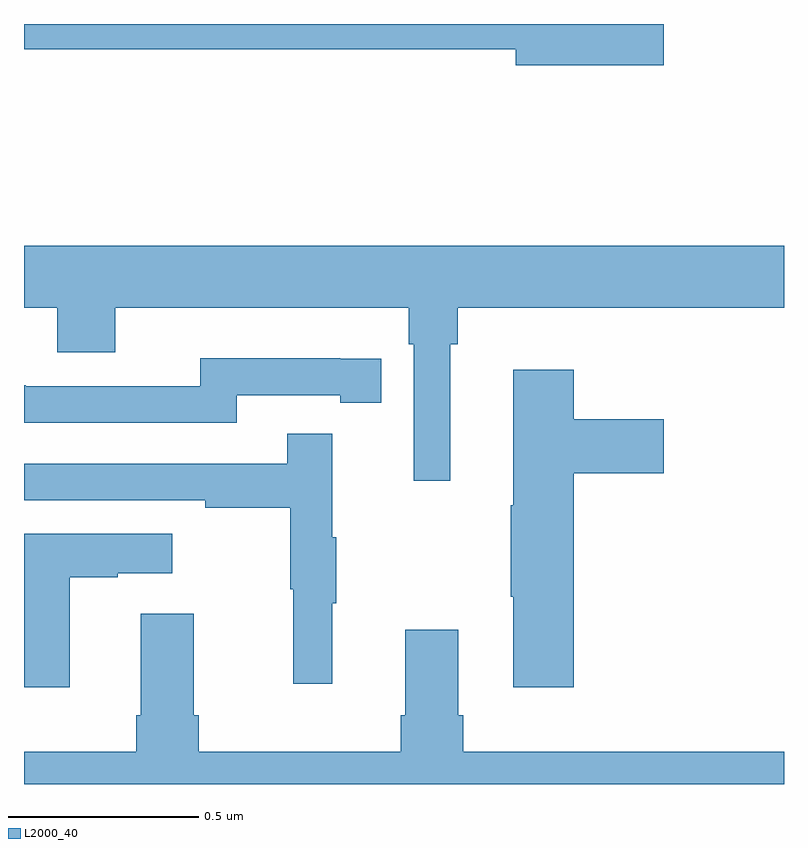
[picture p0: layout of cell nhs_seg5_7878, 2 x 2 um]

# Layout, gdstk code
import gdstk
lib = gdstk.Library(unit=1e-6, precision=1e-09)
def P(c, l, *ps):  # polygons
    for p in ps: c.add(gdstk.Polygon(p, *l))
L2000_40 = (2000, 40)

nhs_seg5_7878 = lib.new_cell('nhs_seg5_7878')
P(nhs_seg5_7878, L2000_40, [(215.683,898.799),(214,898.799),(214,898.732),(215.294,898.732),(215.294,898.69),(215.683,898.69)],
  [(215.122,897.956),(215.141,897.956),(215.141,898.052),(216,898.052),(216,898.216),(214,898.216),(214,898.052),(214.088,898.052),(214.088,897.935),(214.24,897.935),(214.24,898.052),(215.012,898.052),(215.012,897.956),(215.025,897.956),(215.025,897.597),(215.122,897.597)],
  [(214.56,897.822),(214.832,897.822),(214.832,897.802),(214.94,897.802),(214.94,897.918),(214.832,897.918),(214.832,897.919),(214.464,897.919),(214.464,897.846),(214.004,897.846),(214.004,897.848),(214,897.848),(214,897.75),(214.56,897.75)],
  [(215.447,897.617),(215.683,897.617),(215.683,897.759),(215.447,897.759),(215.447,897.889),(215.288,897.889),(215.288,897.533),(215.281,897.533),(215.281,897.292),(215.288,897.292),(215.288,897.054),(215.447,897.054)],
  [(214.811,897.275),(214.822,897.275),(214.822,897.449),(214.811,897.449),(214.811,897.721),(214.693,897.721),(214.693,897.642),(214,897.642),(214,897.546),(214.477,897.546),(214.477,897.526),(214.701,897.526),(214.701,897.312),(214.708,897.312),(214.708,897.063),(214.811,897.063)],
  [(214.12,897.343),(214.247,897.343),(214.247,897.353),(214.39,897.353),(214.39,897.457),(214,897.457),(214,897.054),(214.12,897.054)],
  [(216,896.884),(215.156,896.884),(215.156,896.98),(215.143,896.98),(215.143,897.205),(215.003,897.205),(215.003,896.98),(214.991,896.98),(214.991,896.884),(214.46,896.884),(214.46,896.98),(214.447,896.98),(214.447,897.247),(214.307,897.247),(214.307,896.98),(214.295,896.98),(214.295,896.884),(214,896.884),(214,896.799),(216,896.799)])

lib.write_gds('nhs_seg5_7878.gds')
